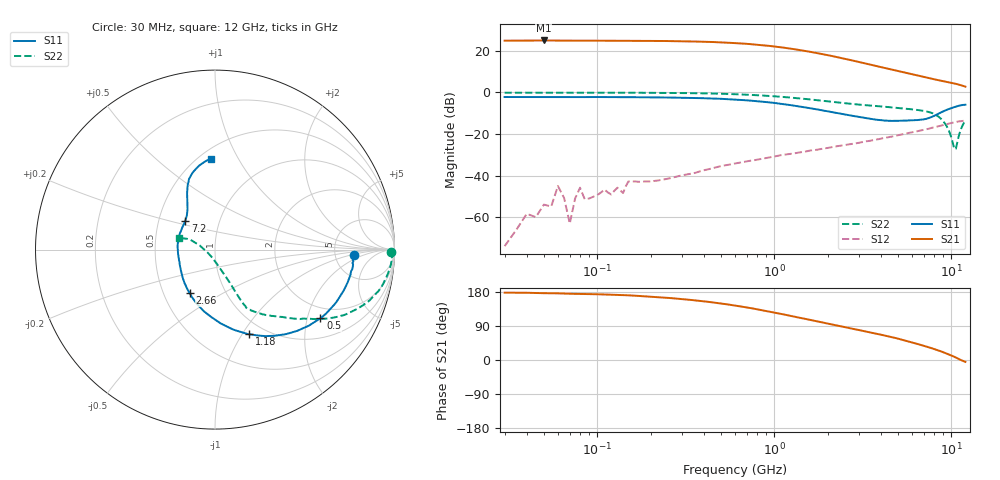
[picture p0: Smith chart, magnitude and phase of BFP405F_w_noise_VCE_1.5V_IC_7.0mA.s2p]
! Infineon Technologies  Discrete & RF Semiconductors
! BFP405F
! VCE =  1.5 V,  IC =  7.0 mA
! Common Emitter S-Parameters:  Nov 2015
# GHz  S  MA  R  50
!  f  S11  S21  S12  S22
! GHz  MAG  ANG  MAG  ANG  MAG  ANG  MAG  ANG
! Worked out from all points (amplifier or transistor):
!   239 points, 30 MHz to 12 GHz, reference 50 ohm
!   highest |S21| = 25.0 dB at 50 MHz (marker M1)
!   |S21| within 3 dB of that: start of sweep to 1.024 GHz
!   unconditionally stable (mu >= 1): start of sweep to 33.22 MHz; 2.51 GHz to end of sweep
!   at 300 MHz: K = 0.17, MSG = 32.3 dB, |S12| = -39.9 dB
!   at 1.88 GHz: K = 0.80, MSG = 22.7 dB, |S12| = -27.0 dB
!   at 12 GHz: K = 1.42, MAG = 4.3 dB, |S12| = -13.5 dB
!   lowest NFmin = 1.45 dB at 450 MHz
!   S11 on the Smith chart (normalised r, x): 30 MHz: 7.70, -1.09; 500 MHz: 1.60, -2.42; 1.18 GHz: 0.84, -1.07; 2.66 GHz: 0.68, -0.36; 7.2 GHz: 0.68, +0.23; 12 GHz: 0.57, +0.78
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0.03  0.7743 -2.1  17.55 177.7  0.0002 -89.1  0.9827 -0.9
0.05  0.7688 -3.6  17.76 176.3  0.002 -161.5  0.9822 -1.5
0.055  0.7692 -3.9  17.68 176.1  0.0018 9.2  0.9836 -1.8
0.06  0.7696 -4.2  17.59 175.9  0.0056 12.5  0.9851 -2.1
0.07  0.7739 -4.9  17.61 174.8  0.0007 81.6  0.986 -1.9
0.08  0.769 -5.5  17.52 174.3  0.0051 28.4  0.9859 -2.3
0.085  0.7713 -5.8  17.56 174.2  0.0027 59.5  0.9868 -2.6
0.15  0.768 -10.4  17.53 170.7  0.0072 77.5  0.9837 -4.8
0.24  0.7551 -16.5  17.24 164.7  0.0081 81.2  0.9734 -7.8
0.36  0.7334 -24.4  16.72 157.2  0.0117 84.6  0.9563 -11.5
0.5  0.7012 -33.1  15.97 149.1  0.0169 77.6  0.9273 -15.6
0.6  0.6727 -39.1  15.35 143.6  0.0195 72.8  0.9066 -18.2
0.9  0.5852 -55.1  13.4 129.3  0.0264 69.5  0.8312 -24.9
1.18  0.5085 -68.0  11.62 118.4  0.0322 65.2  0.7633 -29.7
1.64  0.4083 -86.3  9.263 104.6  0.0405 62.1  0.669 -35.3
2.08  0.3413 -102.1  7.626 94.4  0.0476 60.0  0.6002 -40.0
2.66  0.281 -120.2  6.065 84.1  0.0564 58.6  0.5354 -44.7
4.5  0.208 -167.8  3.618 61.4  0.0852 54.2  0.4412 -54.2
7.2  0.2309 135.8  2.283 35.6  0.1293 44.8  0.3492 -62.1
9  0.3508 116.3  1.861 20.5  0.1642 36.9  0.2024 -65.9
10.4  0.4427 106.8  1.639 8.4  0.1908 28.7  0.0434 -120.0
12  0.5059 92.3  1.375 -4.9  0.2111 19.8  0.2136 161.8
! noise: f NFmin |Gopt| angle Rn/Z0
0.45  1.45  0.3  6  0.34
0.9  1.46  0.28  11  0.34
1.5  1.52  0.26  16  0.3
1.9  1.56  0.24  24  0.3
2.4  1.71  0.23  32  0.32
3  1.77  0.21  45  0.29
3.5  1.82  0.19  53  0.28
4.5  1.97  0.15  59  0.2
5.5  2.17  0.08  66  0.07
